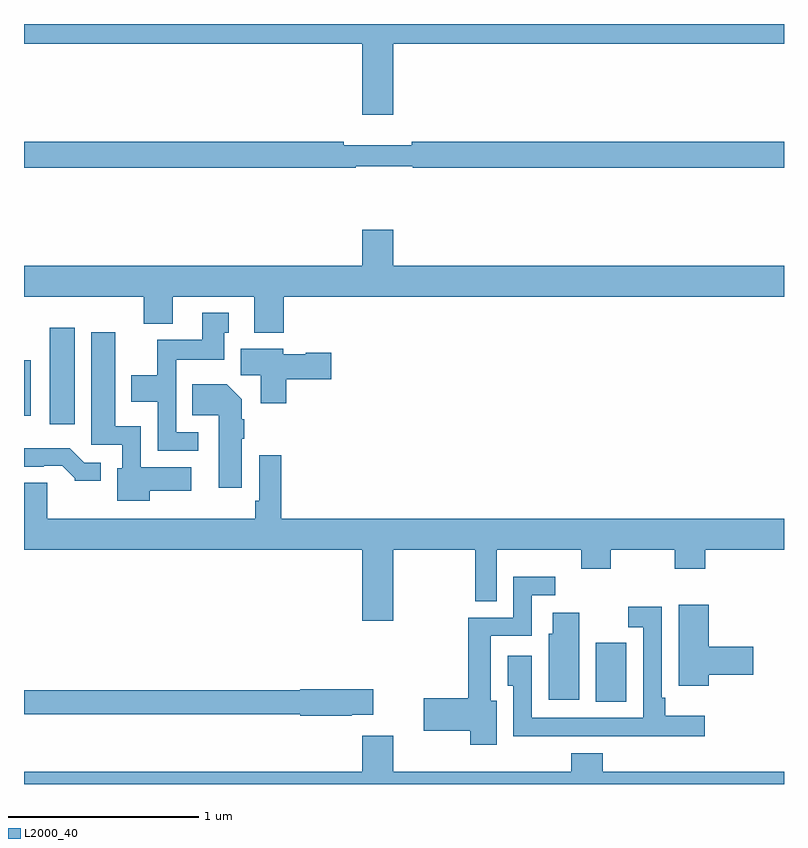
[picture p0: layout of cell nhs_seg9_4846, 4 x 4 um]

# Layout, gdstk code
import gdstk
lib = gdstk.Library(unit=1e-6, precision=1e-09)
def R(c, l, rs):  # rectangles x0, y0, x1, y1
    for r in rs: c.add(gdstk.rectangle(r[:2], r[2:], *l))
def P(c, l, *ps):  # polygons
    for p in ps: c.add(gdstk.Polygon(p, *l))
L2000_40 = (2000, 40)

nhs_seg9_4846 = lib.new_cell('nhs_seg9_4846')
R(nhs_seg9_4846, L2000_40, [(394.01,1216.933,394.171,1217.244), (391.136,1218.393,391.267,1218.901), (391,1218.437,391.036,1218.73)])
P(nhs_seg9_4846, L2000_40, [(392.944,1220.396),(395,1220.396),(395,1220.5),(391,1220.5),(391,1220.396),(392.78,1220.396),(392.78,1220.022),(392.944,1220.022)],
  [(392.745,1219.752),(393.045,1219.752),(393.045,1219.744),(395,1219.744),(395,1219.88),(393.04,1219.88),(393.04,1219.861),(392.684,1219.861),(392.684,1219.88),(391,1219.88),(391,1219.744),(392.745,1219.744)],
  [(392.366,1219.064),(395,1219.064),(395,1219.228),(392.944,1219.228),(392.944,1219.417),(392.78,1219.417),(392.78,1219.228),(391,1219.228),(391,1219.064),(391.631,1219.064),(391.631,1218.923),(391.783,1218.923),(391.783,1219.064),(392.213,1219.064),(392.213,1218.875),(392.366,1218.875)],
  [(391.918,1218.351),(391.8,1218.351),(391.8,1218.734),(392.053,1218.734),(392.053,1218.876),(392.077,1218.876),(392.077,1218.979),(391.937,1218.979),(391.937,1218.838),(391.702,1218.838),(391.702,1218.652),(391.565,1218.652),(391.565,1218.512),(391.704,1218.512),(391.704,1218.255),(391.918,1218.255)],
  [(391.662,1218.044),(391.879,1218.044),(391.879,1218.166),(391.614,1218.166),(391.614,1218.382),(391.48,1218.382),(391.48,1218.877),(391.355,1218.877),(391.355,1218.285),(391.518,1218.285),(391.518,1218.162),(391.49,1218.162),(391.49,1217.99),(391.662,1217.99)],
  [(392.381,1218.629),(392.617,1218.629),(392.617,1218.771),(392.484,1218.771),(392.484,1218.763),(392.364,1218.763),(392.364,1218.79),(392.141,1218.79),(392.141,1218.652),(392.246,1218.652),(392.246,1218.504),(392.381,1218.504)],
  [(392.146,1218.316),(392.159,1218.316),(392.159,1218.419),(392.146,1218.419),(392.146,1218.526),(392.068,1218.604),(391.885,1218.604),(391.885,1218.44),(392.024,1218.44),(392.024,1218.06),(392.146,1218.06)],
  [(391.405,1218.192),(391.317,1218.192),(391.241,1218.268),(391,1218.268),(391,1218.171),(391.103,1218.171),(391.103,1218.174),(391.202,1218.174),(391.266,1218.11),(391.266,1218.095),(391.405,1218.095)],
  [(392.944,1217.732),(393.376,1217.732),(393.376,1217.461),(393.487,1217.461),(393.487,1217.732),(393.934,1217.732),(393.934,1217.633),(394.089,1217.633),(394.089,1217.732),(394.426,1217.732),(394.426,1217.633),(394.586,1217.633),(394.586,1217.732),(395,1217.732),(395,1217.896),(392.354,1217.896),(392.354,1218.229),(392.238,1218.229),(392.238,1217.992),(392.218,1217.992),(392.218,1217.896),(391.123,1217.896),(391.123,1218.086),(391,1218.086),(391,1217.732),(392.78,1217.732),(392.78,1217.358),(392.944,1217.358)],
  [(393.487,1216.939),(393.457,1216.939),(393.457,1217.28),(393.672,1217.28),(393.672,1217.493),(393.796,1217.493),(393.796,1217.59),(393.576,1217.59),(393.576,1217.376),(393.339,1217.376),(393.339,1216.952),(393.105,1216.952),(393.105,1216.781),(393.349,1216.781),(393.349,1216.707),(393.487,1216.707)],
  [(394.604,1217.075),(394.837,1217.075),(394.837,1217.222),(394.604,1217.222),(394.604,1217.443),(394.445,1217.443),(394.445,1217.016),(394.604,1217.016)],
  [(393.797,1216.752),(394.163,1216.752),(394.163,1216.751),(394.582,1216.751),(394.582,1216.858),(394.376,1216.858),(394.376,1216.954),(394.356,1216.954),(394.356,1217.434),(394.179,1217.434),(394.179,1217.325),(394.26,1217.325),(394.26,1216.848),(393.672,1216.848),(393.672,1217.176),(393.545,1217.176),(393.545,1217.017),(393.576,1217.017),(393.576,1216.751),(393.797,1216.751)],
  [(393.922,1217.401),(393.782,1217.401),(393.782,1217.292),(393.761,1217.292),(393.761,1216.944),(393.922,1216.944)],
  [(392.726,1216.865),(392.839,1216.865),(392.839,1217),(392.454,1217),(392.454,1216.994),(391,1216.994),(391,1216.866),(392.454,1216.866),(392.454,1216.858),(392.726,1216.858)],
  [(395,1216.564),(394.046,1216.564),(394.046,1216.663),(393.881,1216.663),(393.881,1216.564),(392.944,1216.564),(392.944,1216.753),(392.78,1216.753),(392.78,1216.564),(391,1216.564),(391,1216.5),(395,1216.5)])

lib.write_gds('nhs_seg9_4846.gds')
